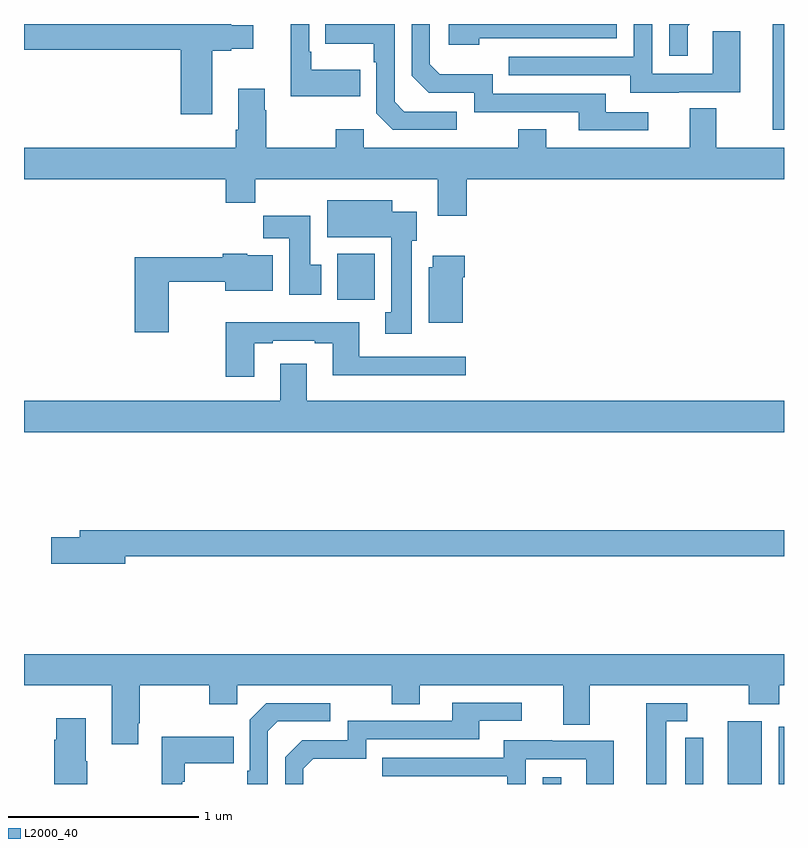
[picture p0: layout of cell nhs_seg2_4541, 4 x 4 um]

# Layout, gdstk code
import gdstk
lib = gdstk.Library(unit=1e-6, precision=1e-09)
def R(c, l, rs):  # rectangles x0, y0, x1, y1
    for r in rs: c.add(gdstk.rectangle(r[:2], r[2:], *l))
def P(c, l, *ps):  # polygons
    for p in ps: c.add(gdstk.Polygon(p, *l))
L2000_40 = (2000, 40)

nhs_seg2_4541 = lib.new_cell('nhs_seg2_4541')
R(nhs_seg2_4541, L2000_40, [(359.73,629.8,359.827,629.836), (360.704,629.8,360.883,630.13), (360.972,629.8,361,630.102), (358.649,632.348,358.846,632.59), (360.941,633.243,361,633.8)])
P(nhs_seg2_4541, L2000_40, [(358.769,633.559),(358.513,633.559),(358.513,633.655),(358.5,633.655),(358.5,633.8),(358.403,633.8),(358.403,633.419),(358.769,633.419)],
  [(359.278,633.339),(359.001,633.339),(358.95,633.39),(358.95,633.8),(358.585,633.8),(358.585,633.695),(358.842,633.695),(358.842,633.599),(358.854,633.599),(358.854,633.33),(358.941,633.243),(359.278,633.243)],
  [(360.286,633.336),(360.061,633.336),(360.061,633.432),(359.466,633.432),(359.466,633.535),(359.189,633.535),(359.136,633.588),(359.136,633.8),(359.04,633.8),(359.04,633.528),(359.13,633.438),(359.37,633.438),(359.37,633.336),(359.921,633.336),(359.921,633.24),(360.286,633.24)],
  [(357.991,633.659),(358.091,633.659),(358.091,633.671),(358.207,633.671),(358.207,633.793),(358.091,633.793),(358.091,633.8),(357,633.8),(357,633.664),(357.824,633.664),(357.824,633.324),(357.991,633.324)],
  [(359.396,633.726),(360.12,633.726),(360.12,633.8),(359.235,633.8),(359.235,633.692),(359.396,633.692)],
  [(360.445,633.441),(360.769,633.441),(360.769,633.761),(360.624,633.761),(360.624,633.537),(360.306,633.537),(360.306,633.8),(360.21,633.8),(360.21,633.627),(359.551,633.627),(359.551,633.531),(360.191,633.531),(360.191,633.437),(360.445,633.437)],
  [(360.493,633.789),(360.504,633.8),(360.396,633.8),(360.396,633.633),(360.493,633.633)],
  [(359.33,632.984),(361,632.984),(361,633.148),(360.643,633.148),(360.643,633.356),(360.503,633.356),(360.503,633.148),(359.749,633.148),(359.749,633.247),(359.602,633.247),(359.602,633.148),(358.788,633.148),(358.788,633.247),(358.642,633.247),(358.642,633.148),(358.275,633.148),(358.275,633.347),(358.267,633.347),(358.267,633.46),(358.127,633.46),(358.127,633.244),(358.115,633.244),(358.115,633.148),(357,633.148),(357,632.984),(358.061,632.984),(358.061,632.86),(358.217,632.86),(358.217,632.984),(359.177,632.984),(359.177,632.79),(359.33,632.79)],
  [(359.041,632.658),(359.068,632.658),(359.068,632.812),(358.939,632.812),(358.939,632.872),(358.595,632.872),(358.595,632.678),(358.934,632.678),(358.934,632.282),(358.901,632.282),(358.901,632.169),(359.041,632.169)],
  [(358.564,632.532),(358.507,632.532),(358.507,632.79),(358.258,632.79),(358.258,632.672),(358.397,632.672),(358.397,632.376),(358.564,632.376)],
  [(357.762,632.443),(358.058,632.443),(358.058,632.396),(358.309,632.396),(358.309,632.584),(358.176,632.584),(358.176,632.59),(358.046,632.59),(358.046,632.572),(357.584,632.572),(357.584,632.178),(357.762,632.178)],
  [(359.308,632.468),(359.321,632.468),(359.321,632.581),(359.15,632.581),(359.15,632.52),(359.129,632.52),(359.129,632.228),(359.308,632.228)],
  [(358.213,632.121),(358.309,632.121),(358.309,632.133),(358.529,632.133),(358.529,632.121),(358.625,632.121),(358.625,631.952),(359.326,631.952),(359.326,632.049),(358.765,632.049),(358.765,632.23),(358.061,632.23),(358.061,631.944),(358.213,631.944)],
  [(361,631.816),(358.489,631.816),(358.489,632.011),(358.349,632.011),(358.349,631.816),(357,631.816),(357,631.652),(361,631.652)],
  [(357.532,631),(361,631),(361,631.136),(357.293,631.136),(357.293,631.1),(357.144,631.1),(357.144,630.958),(357.532,630.958)],
  [(357.601,630.121),(357.609,630.121),(357.609,630.32),(357.976,630.32),(357.976,630.221),(358.122,630.221),(358.122,630.32),(358.936,630.32),(358.936,630.221),(359.083,630.221),(359.083,630.32),(359.837,630.32),(359.837,630.112),(359.977,630.112),(359.977,630.32),(360.814,630.32),(360.814,630.221),(360.974,630.221),(360.974,630.32),(361,630.32),(361,630.484),(357,630.484),(357,630.32),(357.461,630.32),(357.461,630.009),(357.601,630.009)],
  [(358.47,629.88),(358.523,629.933),(358.8,629.933),(358.8,630.036),(359.395,630.036),(359.395,630.132),(359.62,630.132),(359.62,630.228),(359.255,630.228),(359.255,630.132),(358.704,630.132),(358.704,630.03),(358.464,630.03),(358.374,629.94),(358.374,629.8),(358.47,629.8)],
  [(360.379,630.129),(360.49,630.129),(360.49,630.225),(360.275,630.225),(360.275,629.8),(360.379,629.8)],
  [(358.284,630.078),(358.335,630.129),(358.612,630.129),(358.612,630.225),(358.275,630.225),(358.188,630.138),(358.188,629.869),(358.176,629.869),(358.176,629.8),(358.284,629.8)],
  [(357.333,629.921),(357.325,629.921),(357.325,630.145),(357.17,630.145),(357.17,630.032),(357.158,630.032),(357.158,629.8),(357.333,629.8)],
  [(357.834,629.813),(357.847,629.813),(357.847,629.909),(358.103,629.909),(358.103,630.049),(357.726,630.049),(357.726,629.8),(357.834,629.8)],
  [(360.575,629.89),(360.576,629.89),(360.576,630.044),(360.48,630.044),(360.48,629.8),(360.575,629.8)],
  [(359.64,629.931),(359.958,629.931),(359.958,629.8),(360.103,629.8),(360.103,630.027),(359.779,630.027),(359.779,630.031),(359.525,630.031),(359.525,629.937),(358.885,629.937),(358.885,629.841),(359.544,629.841),(359.544,629.8),(359.64,629.8)])

lib.write_gds('nhs_seg2_4541.gds')
